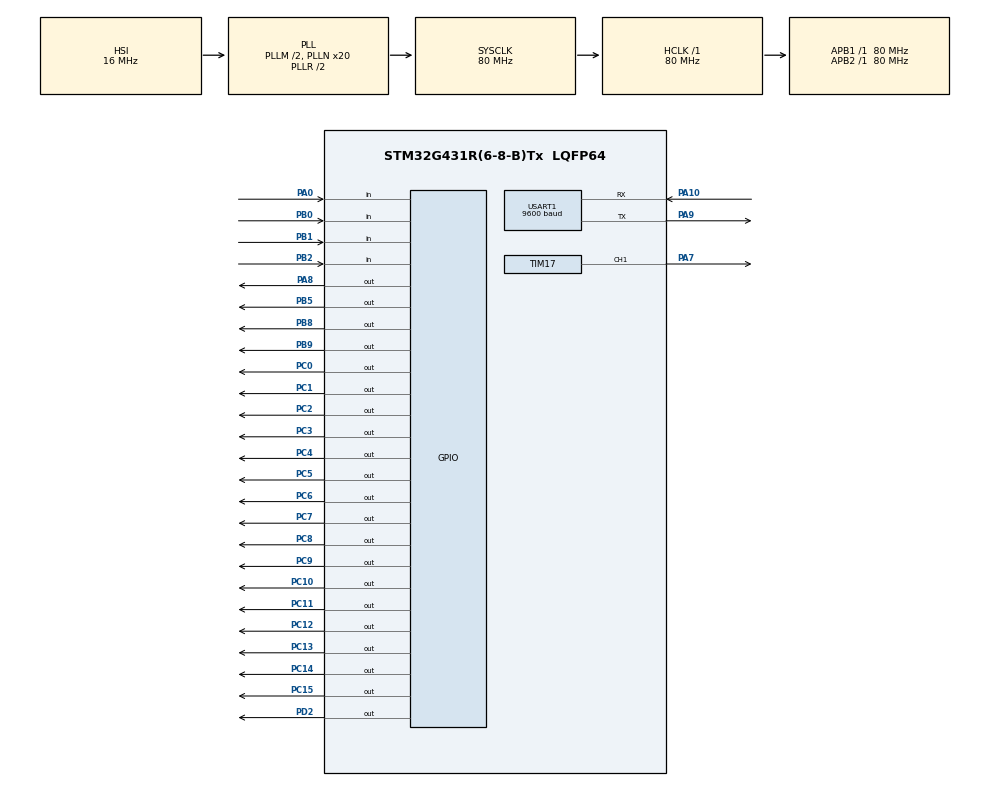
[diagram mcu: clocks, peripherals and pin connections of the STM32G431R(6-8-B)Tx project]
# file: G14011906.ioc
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Mcu.Family=STM32G4
Mcu.Name=STM32G431R(6-8-B)Tx
Mcu.Package=LQFP64
NVIC.PriorityGroup=NVIC_PRIORITYGROUP_4
NVIC.TIM4_IRQn=true\:0\:0\:false\:false\:true\:true\:true
NVIC.USART1_IRQn=true\:0\:0\:false\:false\:true\:true\:true
PA0.Signal=GPIO_Input
PA10.Mode=Asynchronous
PA10.Signal=USART1_RX
PA7.Signal=S_TIM17_CH1
PA8.Signal=GPIO_Output
PA9.Mode=Asynchronous
PA9.Signal=USART1_TX
PB0.Signal=GPIO_Input
PB1.Signal=GPIO_Input
PB2.Signal=GPIO_Input
PB5.Signal=GPIO_Output
PB8-BOOT0.Signal=GPIO_Output
PB9.Signal=GPIO_Output
PC0.Signal=GPIO_Output
PC1.Signal=GPIO_Output
PC10.Signal=GPIO_Output
PC11.Signal=GPIO_Output
PC12.Signal=GPIO_Output
PC13.Signal=GPIO_Output
PC14-OSC32_IN.Signal=GPIO_Output
PC15-OSC32_OUT.Signal=GPIO_Output
PC2.Signal=GPIO_Output
PC3.Signal=GPIO_Output
PC4.Signal=GPIO_Output
PC5.Signal=GPIO_Output
PC6.Signal=GPIO_Output
PC7.Signal=GPIO_Output
PC8.Signal=GPIO_Output
PC9.Signal=GPIO_Output
PD2.Signal=GPIO_Output
PF0-OSC_IN.Mode=HSE-External-Oscillator
PF0-OSC_IN.Signal=RCC_OSC_IN
PF1-OSC_OUT.Mode=HSE-External-Oscillator
PF1-OSC_OUT.Signal=RCC_OSC_OUT
ProjectManager.HeapSize=0x200
ProjectManager.StackSize=0x400
ProjectManager.TargetToolchain=MDK-ARM V5
RCC.ADC12Freq_Value=80000000
RCC.AHBFreq_Value=80000000
RCC.APB1Freq_Value=80000000
RCC.APB1TimFreq_Value=80000000
RCC.APB2Freq_Value=80000000
RCC.APB2TimFreq_Value=80000000
RCC.CortexFreq_Value=80000000
RCC.EXTERNAL_CLOCK_VALUE=12288000
RCC.HCLKFreq_Value=80000000
RCC.HSE_VALUE=24000000
RCC.HSI48_VALUE=48000000
RCC.HSI_VALUE=16000000
RCC.LSE_VALUE=32768
RCC.PLLM=RCC_PLLM_DIV2
RCC.PLLN=20
RCC.SYSCLKFreq_VALUE=80000000
RCC.SYSCLKSource=RCC_SYSCLKSOURCE_PLLCLK
RCC.USBFreq_Value=80000000
RCC.VCOOutputFreq_Value=160000000
SH.S_TIM17_CH1.0=TIM17_CH1,PWM Generation1 CH1
TIM17.Channel=TIM_CHANNEL_1
TIM17.PeriodNoDither=499
TIM17.Prescaler=79
TIM4.PeriodNoDither=9999
TIM4.Prescaler=79
USART1.BaudRate=9600
USART1.VirtualMode-Asynchronous=VM_ASYNC
VP_SYS_VS_DBSignals.Mode=DisableDeadBatterySignals
VP_TIM17_VS_ClockSourceINT.Mode=Enable_Timer
VP_TIM4_VS_ClockSourceINT.Mode=Internal
board=custom

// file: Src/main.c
/* USER CODE BEGIN Header */
/**
  ******************************************************************************
  * @file           : main.c
  * @brief          : Main program body
  ******************************************************************************
  * @attention
  *
  * <h2><center>&copy; Copyright (c) 2021 STMicroelectronics.
  * All rights reserved.</center></h2>
  *
  * This software component is licensed by ST under BSD 3-Clause license,
  * the "License"; You may not use this file except in compliance with the
  * License. You may obtain a copy of the License at:
  *                        opensource.org/licenses/BSD-3-Clause
  *
  ******************************************************************************
  */
/* USER CODE END Header */

#include "main.h"
#include "tim.h"
#include "usart.h"
#include "gpio.h"

/* USER CODE BEGIN Includes */
#include "led.h"
#include "key.h"
#include "stdio.h"
#include "string.h"
/* USER CODE END Includes */

void SystemClock_Config(void);

/* USER CODE BEGIN 0 */
extern struct keys key[4];
#define DISPLAY_DATA            0
#define DISPLAT_PARA            1
_Bool   display_mode =          DISPLAY_DATA;
u8      cnbr_num    = 0 ,       vnbr_num = 0,idle_num = 9;
u16     cnbr_pay    = 35,       vnbr_pay = 20;
_Bool   pa7_status  = 0 ;
void LCD_Process(void)
{
    char display_buf[30];
    if(display_mode == DISPLAY_DATA)
    {
        LCD_DisplayStringLine(Line1,(unsigned char *)"       Data         ");
        sprintf(display_buf,"   CNBR:%d     ",cnbr_num);
        LCD_DisplayStringLine(Line3,(unsigned char *)display_buf);
        sprintf(display_buf,"   VNBR:%d     ",vnbr_num);
        LCD_DisplayStringLine(Line5,(unsigned char *)display_buf);
        sprintf(display_buf,"   IDLE:%d     ",idle_num);
        LCD_DisplayStringLine(Line7,(unsigned char *)display_buf);
    }
    else
    {
        LCD_DisplayStringLine(Line1,(unsigned char *)"       Para         ");
        sprintf(display_buf,"   CNBR:%4.2f     ",cnbr_pay/10.0f);
        LCD_DisplayStringLine(Line3,(unsigned char *)display_buf);
        sprintf(display_buf,"   VNBR:%4.2f     ",vnbr_pay/10.0f);
        LCD_DisplayStringLine(Line5,(unsigned char *)display_buf);
    }
}

void KEY_Process(void)
{
    if(key[0].key_ok == 1)
    {
        display_mode = !display_mode;
        key[0].key_ok = 0;
    }
    if(key[1].key_ok == 1)
    {
        if(display_mode == DISPLAT_PARA)
        {
            cnbr_pay += 5;
            vnbr_pay += 5;
        }
        key[1].key_ok = 0;
    }
    if(key[2].key_ok == 1)
    {
        if(display_mode == DISPLAT_PARA)
        {
            cnbr_pay -= 5;
            vnbr_pay -= 5;
        }
        key[2].key_ok = 0;
    }
    if(key[3].key_ok == 1)
    {
        pa7_status = !pa7_status;
        key[3].key_ok = 0;
    }
}

void PWM_Process(void)
{
    if(pa7_status == 0)
        TIM17->CCR1 =   100;
    else
        TIM17->CCR1 = 0;
}

typedef struct
{
    u8   car_type[5];
    u8   car_num[5];
    u8   year;
    u8   month;
    u8   day;
    u8   hour;
    u8   minte;
    u8   second;
    u8   pos;
}CAR_INFO;

u8 rx_buf[23];
u8 rx_dat;
u8 rx_point;
u32 uartTick = 0;
void HAL_UART_RxCpltCallback(UART_HandleTypeDef *huart)
{
    uartTick = uwTick;
    rx_buf[rx_point++] = rx_dat;
    HAL_UART_Receive_IT(&huart1, &rx_dat,1);
}

int IS_RealString(u8 *rx_buf)
{
}

CAR_INFO car_info[8];
void Idle_Process(void)
{
    if(uwTick - uartTick < 50) return;
    uartTick = uwTick;
    if(rx_point > 0)
    {
        if(rx_point == 22)
        {

        }
    }
    rx_point = 0;
    memset(rx_buf,0,23);
}

/* USER CODE END 0 */

int main(void)
{

  /* MCU Configuration--------------------------------------------------------*/

  /* Reset of all peripherals, Initializes the Flash interface and the Systick. */
  HAL_Init();

  /* Configure the system clock */
  SystemClock_Config();

  /* Initialize all configured peripherals */
  MX_GPIO_Init();
  MX_TIM4_Init();
  MX_TIM17_Init();
  MX_USART1_UART_Init();
  /* USER CODE BEGIN 2 */

	LCD_Init();
  /* USER CODE END 2 */

  /* Infinite loop */
  /* USER CODE BEGIN WHILE */

	LCD_Clear(Black);
	LCD_SetBackColor(Black);
	LCD_SetTextColor(White);

	HAL_TIM_Base_Start_IT(&htim4);
	HAL_TIM_PWM_Start(&htim17,TIM_CHANNEL_1);
    HAL_UART_Receive_IT(&huart1, &rx_dat,1);
  while (1)
  {
    /* USER CODE END WHILE */

    /* USER CODE BEGIN 3 */
      LCD_Process();
      PWM_Process();
      KEY_Process();
      Idle_Process();
  }
  /* USER CODE END 3 */
}

void SystemClock_Config(void)
{
  RCC_OscInitTypeDef RCC_OscInitStruct = {0};
  RCC_ClkInitTypeDef RCC_ClkInitStruct = {0};
  RCC_PeriphCLKInitTypeDef PeriphClkInit = {0};

  /** Configure the main internal regulator output voltage
  */
  HAL_PWREx_ControlVoltageScaling(PWR_REGULATOR_VOLTAGE_SCALE1);
  /** Initializes the CPU, AHB and APB busses clocks
  */
  RCC_OscInitStruct.OscillatorType = RCC_OSCILLATORTYPE_HSI;
  RCC_OscInitStruct.HSIState = RCC_HSI_ON;
  RCC_OscInitStruct.HSICalibrationValue = RCC_HSICALIBRATION_DEFAULT;
  RCC_OscInitStruct.PLL.PLLState = RCC_PLL_ON;
  RCC_OscInitStruct.PLL.PLLSource = RCC_PLLSOURCE_HSI;
  RCC_OscInitStruct.PLL.PLLM = RCC_PLLM_DIV2;
  RCC_OscInitStruct.PLL.PLLN = 20;
  RCC_OscInitStruct.PLL.PLLP = RCC_PLLP_DIV2;
  RCC_OscInitStruct.PLL.PLLQ = RCC_PLLQ_DIV2;
  RCC_OscInitStruct.PLL.PLLR = RCC_PLLR_DIV2;
  if (HAL_RCC_OscConfig(&RCC_OscInitStruct) != HAL_OK)
  {
    Error_Handler();
  }
  /** Initializes the CPU, AHB and APB busses clocks
  */
  RCC_ClkInitStruct.ClockType = RCC_CLOCKTYPE_HCLK|RCC_CLOCKTYPE_SYSCLK
                              |RCC_CLOCKTYPE_PCLK1|RCC_CLOCKTYPE_PCLK2;
  RCC_ClkInitStruct.SYSCLKSource = RCC_SYSCLKSOURCE_PLLCLK;
  RCC_ClkInitStruct.AHBCLKDivider = RCC_SYSCLK_DIV1;
  RCC_ClkInitStruct.APB1CLKDivider = RCC_HCLK_DIV1;
  RCC_ClkInitStruct.APB2CLKDivider = RCC_HCLK_DIV1;

  if (HAL_RCC_ClockConfig(&RCC_ClkInitStruct, FLASH_LATENCY_3) != HAL_OK)
  {
    Error_Handler();
  }
  /** Initializes the peripherals clocks
  */
  PeriphClkInit.PeriphClockSelection = RCC_PERIPHCLK_USART1;
  PeriphClkInit.Usart1ClockSelection = RCC_USART1CLKSOURCE_PCLK2;
  if (HAL_RCCEx_PeriphCLKConfig(&PeriphClkInit) != HAL_OK)
  {
    Error_Handler();
  }
}

void Error_Handler(void)
{
}

/************************ (C) COPYRIGHT STMicroelectronics *****END OF FILE****/
